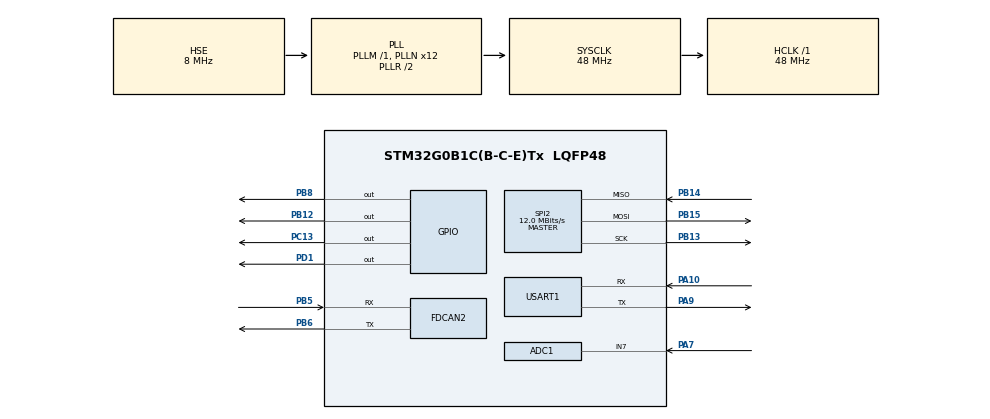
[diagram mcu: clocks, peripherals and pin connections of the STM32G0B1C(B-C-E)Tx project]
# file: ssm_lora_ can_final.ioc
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ADC1.Channel-0\#ChannelRegularConversion=ADC_CHANNEL_7
ADC1.NbrOfConversionFlag=1
ADC1.Rank-0\#ChannelRegularConversion=1
ADC1.SamplingTime-0\#ChannelRegularConversion=ADC_SAMPLINGTIME_COMMON_1
ADC1.SelectedChannel=ADC_CHANNEL_7
ADC1.master=1
FDCAN2.CalculateBaudRateNominal=250000
FDCAN2.CalculateTimeBitNominal=4000
FDCAN2.CalculateTimeQuantumNominal=250.0
FDCAN2.NominalPrescaler=12
FDCAN2.NominalTimeSeg1=13
FDCAN2.NominalTimeSeg2=2
FREERTOS.Tasks01=defaultTask,24,640,StartDefaultTask,Default,NULL,Dynamic,NULL,NULL
FREERTOS.configTOTAL_HEAP_SIZE=43008
FREERTOS.configUSE_NEWLIB_REENTRANT=1
IWDG.Prescaler=IWDG_PRESCALER_256
Mcu.Family=STM32G0
Mcu.Name=STM32G0B1C(B-C-E)Tx
Mcu.Package=LQFP48
NVIC.TIM14_IRQn=true\:3\:0\:false\:false\:true\:false\:false\:true\:true
NVIC.TimeBase=TIM14_IRQn
NVIC.TimeBaseIP=TIM14
NVIC.USART1_IRQn=true\:3\:0\:false\:false\:true\:true\:true\:true\:true
PA10.Mode=Asynchronous
PA10.Signal=USART1_RX
PA13.Mode=Serial_Wire
PA13.Signal=SYS_SWDIO
PA14-BOOT0.Mode=Serial_Wire
PA14-BOOT0.Signal=SYS_SWCLK
PA7.Mode=IN7
PA7.Signal=ADC1_IN7
PA9.Mode=Asynchronous
PA9.Signal=USART1_TX
PB12.Signal=GPIO_Output
PB13.Mode=Full_Duplex_Master
PB13.Signal=SPI2_SCK
PB14.Mode=Full_Duplex_Master
PB14.Signal=SPI2_MISO
PB15.Mode=Full_Duplex_Master
PB15.Signal=SPI2_MOSI
PB5.Mode=FDCAN_Activate
PB5.Signal=FDCAN2_RX
PB6.Mode=FDCAN_Activate
PB6.Signal=FDCAN2_TX
PB8.Signal=GPIO_Output
PC13.Signal=GPIO_Output
PC14-OSC32_IN\ (PC14).Mode=LSE-External-Oscillator
PC14-OSC32_IN\ (PC14).Signal=RCC_OSC32_IN
PC15-OSC32_OUT\ (PC15).Mode=LSE-External-Oscillator
PC15-OSC32_OUT\ (PC15).Signal=RCC_OSC32_OUT
PD1.Signal=GPIO_Output
PF0-OSC_IN\ (PF0).Mode=HSE-External-Oscillator
PF0-OSC_IN\ (PF0).Signal=RCC_OSC_IN
PF1-OSC_OUT\ (PF1).Mode=HSE-External-Oscillator
PF1-OSC_OUT\ (PF1).Signal=RCC_OSC_OUT
ProjectManager.HeapSize=0x200
ProjectManager.StackSize=0x400
ProjectManager.TargetToolchain=STM32CubeIDE
RCC.ADCFreq_Value=48000000
RCC.AHBFreq_Value=48000000
RCC.CortexFreq_Value=48000000
RCC.EXTERNAL_CLOCK_VALUE=48000
RCC.HCLKFreq_Value=48000000
RCC.HSE_VALUE=8000000
RCC.HSI48_VALUE=48000000
RCC.HSI_VALUE=16000000
RCC.PLLN=12
RCC.PLLSourceVirtual=RCC_PLLSOURCE_HSE
RCC.RTCClockSelection=RCC_RTCCLKSOURCE_LSE
RCC.SYSCLKFreq_VALUE=48000000
RCC.SYSCLKSource=RCC_SYSCLKSOURCE_PLLCLK
RCC.USBFreq_Value=48000000
RCC.VCOOutputFreq_Value=96000000
SPI2.BaudRatePrescaler=SPI_BAUDRATEPRESCALER_4
SPI2.CalculateBaudRate=12.0 MBits/s
SPI2.DataSize=SPI_DATASIZE_8BIT
SPI2.Direction=SPI_DIRECTION_2LINES
SPI2.Mode=SPI_MODE_MASTER
SPI2.VirtualType=VM_MASTER
USART1.VirtualMode-Asynchronous=VM_ASYNC
VP_FREERTOS_VS_CMSIS_V2.Mode=CMSIS_V2
VP_IWDG_VS_IWDG.Mode=IWDG_Activate
VP_RTC_VS_RTC_Activate.Mode=RTC_Enabled
VP_RTC_VS_RTC_Calendar.Mode=RTC_Calendar
VP_SYS_VS_DBSignals.Mode=DisableDeadBatterySignals
VP_SYS_VS_tim14.Mode=TIM14
VP_TIM16_VS_ClockSourceINT.Mode=Enable_Timer
board=custom

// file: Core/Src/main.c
/* USER CODE BEGIN Header */
/**
  ******************************************************************************
  * @file           : main.c
  * @brief          : Main program body
  ******************************************************************************
  * @attention
  *
  * Copyright (c) 2025 STMicroelectronics.
  * All rights reserved.
  *
  * This software is licensed under terms that can be found in the LICENSE file
  * in the root directory of this software component.
  * If no LICENSE file comes with this software, it is provided AS-IS.
  *
  ******************************************************************************
  */
/* USER CODE END Header */
#include "main.h"
#include "cmsis_os.h"

/* USER CODE BEGIN Includes */
#include <lora_uart_interface.h>
/* USER CODE END Includes */

ADC_HandleTypeDef hadc1;

FDCAN_HandleTypeDef hfdcan2;

IWDG_HandleTypeDef hiwdg;

RTC_HandleTypeDef hrtc;

SPI_HandleTypeDef hspi2;

TIM_HandleTypeDef htim16;

UART_HandleTypeDef huart1;

/* Definitions for defaultTask */
osThreadId_t defaultTaskHandle;
const osThreadAttr_t defaultTask_attributes = {
  .name = "defaultTask",
  .priority = (osPriority_t) osPriorityNormal,
  .stack_size = 640 * 4
};
/* USER CODE BEGIN PV */
uint8_t rawByte = 0;
uint8_t gsm_raw_byte = 0;
uint16_t tick_start=0;
uint8_t one_sec=0,two_sec=0,two_sec2=0;
uint16_t post_period_handler=0;

/* USER CODE END PV */

void SystemClock_Config(void);
static void MX_GPIO_Init(void);
static void MX_ADC1_Init(void);
//static void MX_FDCAN2_Init(void);
static void MX_RTC_Init(void);
static void MX_SPI2_Init(void);
static void MX_TIM16_Init(void);
static void MX_USART1_UART_Init(void);
static void MX_IWDG_Init(void);
void StartDefaultTask(void *argument);

int main(void)
{

  /* MCU Configuration--------------------------------------------------------*/

  /* Reset of all peripherals, Initializes the Flash interface and the Systick. */
  HAL_Init();

  /* Configure the system clock */
  SystemClock_Config();

  /* Initialize all configured peripherals */
  MX_GPIO_Init();
  MX_ADC1_Init();
  MX_FDCAN2_Init();
  MX_RTC_Init();
  MX_SPI2_Init();
  MX_TIM16_Init();
  MX_USART1_UART_Init();
//  MX_IWDG_Init();
  /* USER CODE BEGIN 2 */
  HAL_TIM_Base_Start_IT(&htim16);
  /* USER CODE END 2 */

  /* Init scheduler */
  osKernelInitialize();

  /* Create the thread(s) */
  /* creation of defaultTask */
  defaultTaskHandle = osThreadNew(StartDefaultTask, NULL, &defaultTask_attributes);

  /* Start scheduler */
  osKernelStart();

  /* We should never get here as control is now taken by the scheduler */

  /* Infinite loop */
  while (1)
  {

  }
}

void SystemClock_Config(void)
{
  RCC_OscInitTypeDef RCC_OscInitStruct = {0};
  RCC_ClkInitTypeDef RCC_ClkInitStruct = {0};

  /** Configure the main internal regulator output voltage
  */
  HAL_PWREx_ControlVoltageScaling(PWR_REGULATOR_VOLTAGE_SCALE1);

  /** Configure LSE Drive Capability
  */
  HAL_PWR_EnableBkUpAccess();
  __HAL_RCC_LSEDRIVE_CONFIG(RCC_LSEDRIVE_LOW);

  /** Initializes the RCC Oscillators according to the specified parameters
  * in the RCC_OscInitTypeDef structure.
  */
  RCC_OscInitStruct.OscillatorType = RCC_OSCILLATORTYPE_LSI|RCC_OSCILLATORTYPE_HSE
                              |RCC_OSCILLATORTYPE_LSE;
  RCC_OscInitStruct.HSEState = RCC_HSE_ON;
  RCC_OscInitStruct.LSEState = RCC_LSE_ON;
  RCC_OscInitStruct.LSIState = RCC_LSI_ON;
  RCC_OscInitStruct.PLL.PLLState = RCC_PLL_ON;
  RCC_OscInitStruct.PLL.PLLSource = RCC_PLLSOURCE_HSE;
  RCC_OscInitStruct.PLL.PLLM = RCC_PLLM_DIV1;
  RCC_OscInitStruct.PLL.PLLN = 12;
  RCC_OscInitStruct.PLL.PLLP = RCC_PLLP_DIV2;
  RCC_OscInitStruct.PLL.PLLQ = RCC_PLLQ_DIV2;
  RCC_OscInitStruct.PLL.PLLR = RCC_PLLR_DIV2;
  if (HAL_RCC_OscConfig(&RCC_OscInitStruct) != HAL_OK)
  {
    Error_Handler();
  }

  /** Initializes the CPU, AHB and APB buses clocks
  */
  RCC_ClkInitStruct.ClockType = RCC_CLOCKTYPE_HCLK|RCC_CLOCKTYPE_SYSCLK
                              |RCC_CLOCKTYPE_PCLK1;
  RCC_ClkInitStruct.SYSCLKSource = RCC_SYSCLKSOURCE_PLLCLK;
  RCC_ClkInitStruct.AHBCLKDivider = RCC_SYSCLK_DIV1;
  RCC_ClkInitStruct.APB1CLKDivider = RCC_HCLK_DIV1;

  if (HAL_RCC_ClockConfig(&RCC_ClkInitStruct, FLASH_LATENCY_1) != HAL_OK)
  {
    Error_Handler();
  }
}

static void MX_ADC1_Init(void)
{

  ADC_ChannelConfTypeDef sConfig = {0};

  /** Configure the global features of the ADC (Clock, Resolution, Data Alignment and number of conversion)
  */
  hadc1.Instance = ADC1;
  hadc1.Init.ClockPrescaler = ADC_CLOCK_SYNC_PCLK_DIV2;
  hadc1.Init.Resolution = ADC_RESOLUTION_12B;
  hadc1.Init.DataAlign = ADC_DATAALIGN_RIGHT;
  hadc1.Init.ScanConvMode = ADC_SCAN_DISABLE;
  hadc1.Init.EOCSelection = ADC_EOC_SINGLE_CONV;
  hadc1.Init.LowPowerAutoWait = DISABLE;
  hadc1.Init.LowPowerAutoPowerOff = DISABLE;
  hadc1.Init.ContinuousConvMode = DISABLE;
  hadc1.Init.NbrOfConversion = 1;
  hadc1.Init.DiscontinuousConvMode = DISABLE;
  hadc1.Init.ExternalTrigConv = ADC_SOFTWARE_START;
  hadc1.Init.ExternalTrigConvEdge = ADC_EXTERNALTRIGCONVEDGE_NONE;
  hadc1.Init.DMAContinuousRequests = DISABLE;
  hadc1.Init.Overrun = ADC_OVR_DATA_PRESERVED;
  hadc1.Init.SamplingTimeCommon1 = ADC_SAMPLETIME_1CYCLE_5;
  hadc1.Init.SamplingTimeCommon2 = ADC_SAMPLETIME_1CYCLE_5;
  hadc1.Init.OversamplingMode = DISABLE;
  hadc1.Init.TriggerFrequencyMode = ADC_TRIGGER_FREQ_HIGH;
  if (HAL_ADC_Init(&hadc1) != HAL_OK)
  {
    Error_Handler();
  }

  /** Configure Regular Channel
  */
  sConfig.Channel = ADC_CHANNEL_7;
  sConfig.Rank = ADC_REGULAR_RANK_1;
  sConfig.SamplingTime = ADC_SAMPLINGTIME_COMMON_1;
  if (HAL_ADC_ConfigChannel(&hadc1, &sConfig) != HAL_OK)
  {
    Error_Handler();
  }

}

void MX_FDCAN2_Init(void)
{

  hfdcan2.Instance = FDCAN2;
  hfdcan2.Init.ClockDivider = FDCAN_CLOCK_DIV1;
  hfdcan2.Init.FrameFormat = FDCAN_FRAME_CLASSIC;
  hfdcan2.Init.Mode = FDCAN_MODE_NORMAL;
  hfdcan2.Init.AutoRetransmission = DISABLE;
  hfdcan2.Init.TransmitPause = DISABLE;
  hfdcan2.Init.ProtocolException = DISABLE;
  hfdcan2.Init.NominalPrescaler = 12;
  hfdcan2.Init.NominalSyncJumpWidth = 1;
  hfdcan2.Init.NominalTimeSeg1 = 13;
  hfdcan2.Init.NominalTimeSeg2 = 2;
  hfdcan2.Init.DataPrescaler = 1;
  hfdcan2.Init.DataSyncJumpWidth = 1;
  hfdcan2.Init.DataTimeSeg1 = 1;
  hfdcan2.Init.DataTimeSeg2 = 1;
  hfdcan2.Init.StdFiltersNbr = 0;
  hfdcan2.Init.ExtFiltersNbr = 0;
  hfdcan2.Init.TxFifoQueueMode = FDCAN_TX_FIFO_OPERATION;
  if (HAL_FDCAN_Init(&hfdcan2) != HAL_OK)
  {
    Error_Handler();
  }

}

static void MX_IWDG_Init(void)
{

  hiwdg.Instance = IWDG;
  hiwdg.Init.Prescaler = IWDG_PRESCALER_256;
  hiwdg.Init.Window = 4095;
  hiwdg.Init.Reload = 4095;
  if (HAL_IWDG_Init(&hiwdg) != HAL_OK)
  {
    Error_Handler();
  }

}

static void MX_RTC_Init(void)
{

  RTC_TimeTypeDef sTime = {0};
  RTC_DateTypeDef sDate = {0};

  /** Initialize RTC Only
  */
  hrtc.Instance = RTC;
  hrtc.Init.HourFormat = RTC_HOURFORMAT_24;
  hrtc.Init.AsynchPrediv = 127;
  hrtc.Init.SynchPrediv = 255;
  hrtc.Init.OutPut = RTC_OUTPUT_DISABLE;
  hrtc.Init.OutPutRemap = RTC_OUTPUT_REMAP_NONE;
  hrtc.Init.OutPutPolarity = RTC_OUTPUT_POLARITY_HIGH;
  hrtc.Init.OutPutType = RTC_OUTPUT_TYPE_OPENDRAIN;
  hrtc.Init.OutPutPullUp = RTC_OUTPUT_PULLUP_NONE;
  if (HAL_RTC_Init(&hrtc) != HAL_OK)
  {
    Error_Handler();
  }

  /** Initialize RTC and set the Time and Date
  */
  sTime.Hours = 0x0;
  sTime.Minutes = 0x0;
  sTime.Seconds = 0x0;
  sTime.SubSeconds = 0x0;
  sTime.DayLightSaving = RTC_DAYLIGHTSAVING_NONE;
  sTime.StoreOperation = RTC_STOREOPERATION_RESET;
  if (HAL_RTC_SetTime(&hrtc, &sTime, RTC_FORMAT_BCD) != HAL_OK)
  {
    Error_Handler();
  }
  sDate.WeekDay = RTC_WEEKDAY_MONDAY;
  sDate.Month = RTC_MONTH_JANUARY;
  sDate.Date = 0x1;
  sDate.Year = 0x0;

  if (HAL_RTC_SetDate(&hrtc, &sDate, RTC_FORMAT_BCD) != HAL_OK)
  {
    Error_Handler();
  }

}

static void MX_SPI2_Init(void)
{

  /* SPI2 parameter configuration*/
  hspi2.Instance = SPI2;
  hspi2.Init.Mode = SPI_MODE_MASTER;
  hspi2.Init.Direction = SPI_DIRECTION_2LINES;
  hspi2.Init.DataSize = SPI_DATASIZE_8BIT;
  hspi2.Init.CLKPolarity = SPI_POLARITY_LOW;
  hspi2.Init.CLKPhase = SPI_PHASE_1EDGE;
  hspi2.Init.NSS = SPI_NSS_SOFT;
  hspi2.Init.BaudRatePrescaler = SPI_BAUDRATEPRESCALER_4;
  hspi2.Init.FirstBit = SPI_FIRSTBIT_MSB;
  hspi2.Init.TIMode = SPI_TIMODE_DISABLE;
  hspi2.Init.CRCCalculation = SPI_CRCCALCULATION_DISABLE;
  hspi2.Init.CRCPolynomial = 7;
  hspi2.Init.CRCLength = SPI_CRC_LENGTH_DATASIZE;
  hspi2.Init.NSSPMode = SPI_NSS_PULSE_ENABLE;
  if (HAL_SPI_Init(&hspi2) != HAL_OK)
  {
    Error_Handler();
  }

}

static void MX_TIM16_Init(void)
{

  htim16.Instance = TIM16;
  htim16.Init.Prescaler = 0;
  htim16.Init.CounterMode = TIM_COUNTERMODE_UP;
  htim16.Init.Period = 65535;
  htim16.Init.ClockDivision = TIM_CLOCKDIVISION_DIV1;
  htim16.Init.RepetitionCounter = 0;
  htim16.Init.AutoReloadPreload = TIM_AUTORELOAD_PRELOAD_DISABLE;
  if (HAL_TIM_Base_Init(&htim16) != HAL_OK)
  {
    Error_Handler();
  }

}

static void MX_USART1_UART_Init(void)
{

  huart1.Instance = USART1;
  huart1.Init.BaudRate = 115200;
  huart1.Init.WordLength = UART_WORDLENGTH_8B;
  huart1.Init.StopBits = UART_STOPBITS_1;
  huart1.Init.Parity = UART_PARITY_NONE;
  huart1.Init.Mode = UART_MODE_TX_RX;
  huart1.Init.HwFlowCtl = UART_HWCONTROL_NONE;
  huart1.Init.OverSampling = UART_OVERSAMPLING_16;
  huart1.Init.OneBitSampling = UART_ONE_BIT_SAMPLE_DISABLE;
  huart1.Init.ClockPrescaler = UART_PRESCALER_DIV1;
  huart1.AdvancedInit.AdvFeatureInit = UART_ADVFEATURE_NO_INIT;
  if (HAL_UART_Init(&huart1) != HAL_OK)
  {
    Error_Handler();
  }
  if (HAL_UARTEx_SetTxFifoThreshold(&huart1, UART_TXFIFO_THRESHOLD_1_8) != HAL_OK)
  {
    Error_Handler();
  }
  if (HAL_UARTEx_SetRxFifoThreshold(&huart1, UART_RXFIFO_THRESHOLD_1_8) != HAL_OK)
  {
    Error_Handler();
  }
  if (HAL_UARTEx_DisableFifoMode(&huart1) != HAL_OK)
  {
    Error_Handler();
  }

}

static void MX_GPIO_Init(void)
{
  GPIO_InitTypeDef GPIO_InitStruct = {0};

  /* GPIO Ports Clock Enable */
  __HAL_RCC_GPIOC_CLK_ENABLE();
  __HAL_RCC_GPIOF_CLK_ENABLE();
  __HAL_RCC_GPIOA_CLK_ENABLE();
  __HAL_RCC_GPIOB_CLK_ENABLE();
  __HAL_RCC_GPIOD_CLK_ENABLE();

  /*Configure GPIO pin Output Level */
  HAL_GPIO_WritePin(GPIOC, GPIO_PIN_13, GPIO_PIN_RESET);

  /*Configure GPIO pin Output Level */
  HAL_GPIO_WritePin(GPIOB, GPIO_PIN_12|GPIO_PIN_8, GPIO_PIN_RESET);

  /*Configure GPIO pin Output Level */
  HAL_GPIO_WritePin(GPIOD, GPIO_PIN_1, GPIO_PIN_RESET);

  /*Configure GPIO pin : PC13 */
  GPIO_InitStruct.Pin = GPIO_PIN_13;
  GPIO_InitStruct.Mode = GPIO_MODE_OUTPUT_PP;
  GPIO_InitStruct.Pull = GPIO_NOPULL;
  GPIO_InitStruct.Speed = GPIO_SPEED_FREQ_LOW;
  HAL_GPIO_Init(GPIOC, &GPIO_InitStruct);

  /*Configure GPIO pins : PB12 PB8 */
  GPIO_InitStruct.Pin = GPIO_PIN_12|GPIO_PIN_8;
  GPIO_InitStruct.Mode = GPIO_MODE_OUTPUT_PP;
  GPIO_InitStruct.Pull = GPIO_NOPULL;
  GPIO_InitStruct.Speed = GPIO_SPEED_FREQ_LOW;
  HAL_GPIO_Init(GPIOB, &GPIO_InitStruct);

  /*Configure GPIO pin : PD1 */
  GPIO_InitStruct.Pin = GPIO_PIN_1;
  GPIO_InitStruct.Mode = GPIO_MODE_OUTPUT_PP;
  GPIO_InitStruct.Pull = GPIO_NOPULL;
  GPIO_InitStruct.Speed = GPIO_SPEED_FREQ_LOW;
  HAL_GPIO_Init(GPIOD, &GPIO_InitStruct);

}

/* USER CODE BEGIN 4 */
void HAL_UART_RxCpltCallback(UART_HandleTypeDef *huart)
{
    if (huart->Instance == USART1)
    {
    	uart_push_data(rawByte);
        HAL_UART_Receive_IT(&huart1, (uint8_t *)&rawByte, 1);
    }

}

/* USER CODE END 4 */

void HAL_TIM_PeriodElapsedCallback(TIM_HandleTypeDef *htim)
{
  if (htim->Instance == TIM14)
  {
    HAL_IncTick();
  }
  /* USER CODE BEGIN Callback 1 */
  if (htim->Instance == TIM16) {
            tick_start++;
          	if(tick_start > 500)
          	{
          		tick_start=0;
          		one_sec++;
          		if(one_sec>1)
          		{
          			two_sec++;
          			two_sec2++;
             			one_sec=0;
          			post_period_handler++;
           			//WakeTime++;
          		}
          	}
          }
  /* USER CODE END Callback 1 */
}

void Error_Handler(void)
{
  __disable_irq();
  while (1)
  {
  }
}
